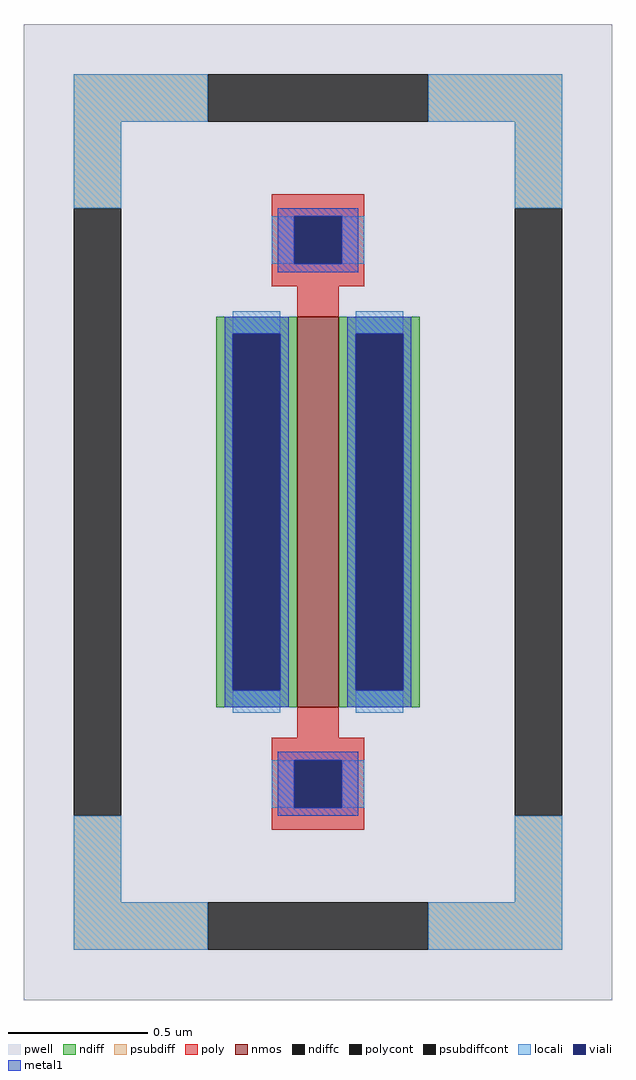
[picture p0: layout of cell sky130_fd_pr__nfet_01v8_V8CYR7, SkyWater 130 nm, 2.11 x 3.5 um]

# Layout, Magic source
magic
tech sky130A
magscale 1 2
<< pwell >>
rect -211 -350 211 350
<< nmos >>
rect -15 -140 15 140
<< ndiff >>
rect -73 128 -15 140
rect -73 -128 -61 128
rect -27 -128 -15 128
rect -73 -140 -15 -128
rect 15 128 73 140
rect 15 -128 27 128
rect 61 -128 73 128
rect 15 -140 73 -128
<< ndiffc >>
rect -61 -128 -27 128
rect 27 -128 61 128
<< psubdiff >>
rect -175 280 -79 314
rect 79 280 175 314
rect -175 218 -141 280
rect 141 218 175 280
rect -175 -280 -141 -218
rect 141 -280 175 -218
rect -175 -314 -79 -280
rect 79 -314 175 -280
<< psubdiffcont >>
rect -79 280 79 314
rect -175 -218 -141 218
rect 141 -218 175 218
rect -79 -314 79 -280
<< poly >>
rect -33 212 33 228
rect -33 178 -17 212
rect 17 178 33 212
rect -33 162 33 178
rect -15 140 15 162
rect -15 -162 15 -140
rect -33 -178 33 -162
rect -33 -212 -17 -178
rect 17 -212 33 -178
rect -33 -228 33 -212
<< polycont >>
rect -17 178 17 212
rect -17 -212 17 -178
<< locali >>
rect -175 280 -79 314
rect 79 280 175 314
rect -175 218 -141 280
rect 141 218 175 280
rect -33 178 -17 212
rect 17 178 33 212
rect -61 128 -27 144
rect -61 -144 -27 -128
rect 27 128 61 144
rect 27 -144 61 -128
rect -33 -212 -17 -178
rect 17 -212 33 -178
rect -175 -280 -141 -218
rect 141 -280 175 -218
rect -175 -314 -79 -280
rect 79 -314 175 -280
<< viali >>
rect -17 178 17 212
rect -61 -128 -27 128
rect 27 -128 61 128
rect -17 -212 17 -178
<< metal1 >>
rect -29 212 29 218
rect -29 178 -17 212
rect 17 178 29 212
rect -29 172 29 178
rect -67 128 -21 140
rect -67 -128 -61 128
rect -27 -128 -21 128
rect -67 -140 -21 -128
rect 21 128 67 140
rect 21 -128 27 128
rect 61 -128 67 128
rect 21 -140 67 -128
rect -29 -178 29 -172
rect -29 -212 -17 -178
rect 17 -212 29 -178
rect -29 -218 29 -212
<< properties >>
string FIXED_BBOX -158 -297 158 297
string gencell sky130_fd_pr__nfet_01v8
string library sky130
string parameters w 1.4 l 0.15 m 1 nf 1 diffcov 100 polycov 100 guard 1 glc 1 grc 1 gtc 1 gbc 1 tbcov 100 rlcov 100 topc 1 botc 1 poverlap 0 doverlap 1 lmin 0.15 wmin 0.42 class mosfet compatible {sky130_fd_pr__nfet_01v8 sky130_fd_pr__nfet_01v8_lvt  sky130_fd_bs_flash__special_sonosfet_star  sky130_fd_pr__nfet_g5v0d10v5 sky130_fd_pr__nfet_05v0_nvt  sky130_fd_pr__nfet_03v3_nvt} full_metal 1 viasrc 100 viadrn 100 viagate 100 viagb 0 viagr 0 viagl 0 viagt 0
<< end >>
